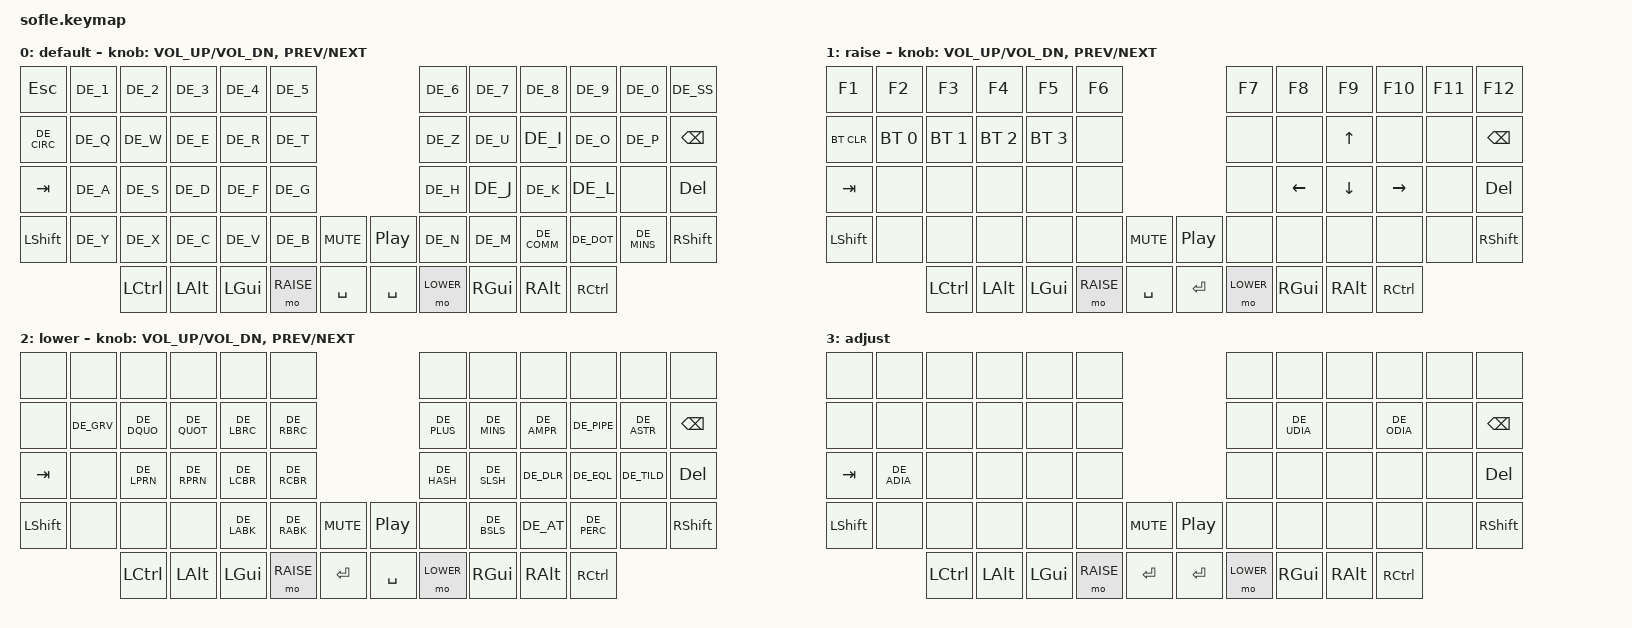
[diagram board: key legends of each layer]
/*
 * Copyright (c) 2020 The ZMK Contributors
 *
 * SPDX-License-Identifier: MIT
 */

#include <behaviors.dtsi>
#include <dt-bindings/zmk/bt.h>
#include <dt-bindings/zmk/ext_power.h>
#include <dt-bindings/zmk/keys.h>
#include <dt-bindings/zmk/rgb.h>
#include "keys_german.h"

#define BASE 0
#define RAISE 1
#define LOWER 2
#define ADJUST 3

/ {
    // Activate ADJUST layer by pressing raise and lower

    conditional_layers {
        compatible = "zmk,conditional-layers";

        adjust_layer {
            if-layers = <LOWER RAISE>;
            then-layer = <ADJUST>;
        };
    };

    keymap {
        compatible = "zmk,keymap";

        default_layer {
            display-name = "default";

            // ------------------------------------------------------------------------------------------------------------
            // |  ESC  |  1  |  2   |  3   |  4   |  5   |                   |  6   |  7    |  8    |  9   |   0   |   ß   |
            // |  ^    |  Q  |  W   |  E   |  R   |  T   |                   |  Z   |  U    |  I    |  O   |   P   | BKSPC |
            // |  TAB  |  A  |  S   |  D   |  F   |  G   |                   |  H   |  J    |  K    |  L   |   -   | DELETE|
            // | SHIFT |  Y  |  X   |  C   |  V   |  B   |  MUTE  |  | PLAY  |  N   |  M    |  ,    |  .   |   -   | SHIFT |
            //               | CTRL | ALT  | GUI  |RAISE |  SPACE |  | ENTER | LOWER| GUI   | ALT   | CTRL |

            bindings = <
&kp ESCAPE  &kp DE_1  &kp DE_2     &kp DE_3    &kp DE_4    &kp DE_5                                      &kp DE_6      &kp DE_7          &kp DE_8      &kp DE_9      &kp DE_0     &kp DE_SS
&kp DE_CIRC &kp DE_Q  &kp DE_W     &kp DE_E    &kp DE_R    &kp DE_T                                      &kp DE_Z      &kp DE_U          &kp DE_I      &kp DE_O      &kp DE_P     &kp BSPC
&kp TAB     &kp DE_A  &kp DE_S     &kp DE_D    &kp DE_F    &kp DE_G                                      &kp DE_H      &kp DE_J          &kp DE_K      &kp DE_L      &none        &kp DELETE
&kp LSHFT   &kp DE_Y  &kp DE_X     &kp DE_C    &kp DE_V    &kp DE_B    &kp C_MUTE      &kp C_PLAY_PAUSE  &kp DE_N      &kp DE_M          &kp DE_COMM   &kp DE_DOT    &kp DE_MINS  &kp RSHFT
                      &kp LCTRL    &kp LALT    &kp LGUI    &mo RAISE   &kp SPACE       &kp SPACE         &mo LOWER     &kp RIGHT_GUI     &kp RALT      &kp RCTRL
            >;

            sensor-bindings =
               <&inc_dec_kp C_VOL_UP C_VOL_DN>,
               <&inc_dec_kp C_PREV C_NEXT>;
        };

        raise_layer {
            display-name = "raise";

            // ------------------------------------------------------------------------------------------------------------
            // |  F1   |  F2  |  F3  |  F4  |  F5  |  F6  |                   |  F7  |  F8   |  F9   | F10  |  F11  |  F12  |
            // |BT Clr |  BT1 |  BT2 |  BT3 |  BT4 |  -   |                   |  -   |  -    |  UP   |  -   |   -   | BKSPC |
            // |  TAB  |  -   |  -   |  -   |  -   |  -   |                   |  -   |  LEFT |  DOWN |RIGHT |   -   | DELETE|
            // | SHIFT |  -   |  -   |  -   |  -   |  -   |  MUTE  |  | PLAY  |  -   |  -    |  -    |  -   |   -   | SHIFT |
            //                | CTRL | ALT  | GUI  |RAISE |  SPACE |  | ENTER | LOWER| GUI   | ALT   | CTRL |

            bindings = <
&kp F1      &kp F2        &kp F3            &kp F4         &kp F5            &kp F6                                     &kp F7            &kp F8             &kp F9                &kp F10                &kp F11        &kp F12
&bt BT_CLR  &bt BT_SEL 0  &bt BT_SEL 1      &bt BT_SEL 2   &bt BT_SEL 3      &none                                      &none             &none              &kp UP                &none                  &none          &kp BSPC
&kp TAB     &none         &none             &none          &none             &none                                      &none             &kp LEFT           &kp DOWN              &kp RIGHT              &none          &kp DELETE
&kp LSHFT   &none         &none             &none          &none             &none          &kp C_MUTE    &kp C_PP      &none             &none              &none                 &none                  &none          &kp RSHFT
                          &kp LCTRL         &kp LALT       &kp LGUI          &mo RAISE      &kp SPACE     &kp RET       &mo LOWER         &kp RGUI           &kp RALT              &kp RCTRL
            >;


            sensor-bindings =
                <&inc_dec_kp C_VOL_UP C_VOL_DN>,
                <&inc_dec_kp C_PREV C_NEXT>;
        };

        lower_layer {
            display-name = "lower";

            // ------------------------------------------------------------------------------------------------------------
            // |   -   |  -  |  -   |  -   |  -   |  -   |                   |  -   |  -    |  -    |  -   |   -   |   -   |
            // |   -   |  ´  |  "   |  '   |  [   |  ]   |                   |  +   |  (-)  |  &    |  |   |   *   | BKSPC |
            // |  TAB  |  -  |  (   |  )   |  {   |  }   |                   |  #   |  /    |  $    |  =   |   ~   | DELETE|
            // | SHIFT |  -  |  -   |  -   |  <   |  >   |  MUTE  |  | PLAY  |  -   |  \    |  @    |  %   |   -   | SHIFT |
            //               | CTRL | ALT  | GUI  |RAISE |  ENTER |  | SPACE | LOWER| GUI   | ALT   | CTRL |

            bindings = <
&none       &none       &none             &none          &none             &none                                      &none             &none              &none                 &none                &none          &none
&none       &kp DE_GRV  &kp DE_DQUO       &kp DE_QUOT    &kp DE_LBRC       &kp DE_RBRC                                &kp DE_PLUS       &kp DE_MINS        &kp DE_AMPR           &kp DE_PIPE          &kp DE_ASTR    &kp BSPC
&kp TAB     &none       &kp DE_LPRN       &kp DE_RPRN    &kp DE_LCBR       &kp DE_RCBR                                &kp DE_HASH       &kp DE_SLSH        &kp DE_DLR            &kp DE_EQL           &kp DE_TILD    &kp DELETE
&kp LSHFT   &none       &none             &none          &kp DE_LABK       &kp DE_RABK    &kp C_MUTE    &kp C_PP      &none             &kp DE_BSLS        &kp DE_AT             &kp DE_PERC          &none          &kp RSHFT
                        &kp LCTRL         &kp LALT       &kp LGUI          &mo RAISE      &kp RET       &kp SPACE     &mo LOWER         &kp RGUI           &kp RALT              &kp RCTRL
            >;


            sensor-bindings =
                <&inc_dec_kp C_VOL_UP C_VOL_DN>,
                <&inc_dec_kp C_PREV C_NEXT>;
        };

        adjust_layer {
            // ------------------------------------------------------------------------------------------------------------
            // |   -   |  -  |  -   |  -   |  -   |  -   |                   |  -   |  -    |  -    |  -   |   -   |   -   |
            // |   -   |  -  |  -   |  -   |  -   |  -   |                   |  -   |  ü    |  -    |  ö   |   -   | BKSPC |
            // |  TAB  |  ä  |  -   |  -   |  -   |  -   |                   |  -   |  -    |  -    |  -   |   -   | DELETE|
            // | SHIFT |  -  |  -   |  -   |  -   |  -   |  MUTE  |  | PLAY  |  -   |  -    |  -    |  -   |   -   | SHIFT |
            //               | CTRL | ALT  | GUI  |RAISE |  ENTER |  | ENTER | LOWER| GUI   | ALT   | CTRL |

            display-name = "adjust";
            bindings = <
&none       &none       &none             &none          &none             &none                                      &none             &none              &none                 &none                  &none          &none
&none       &none       &none             &none          &none             &none                                      &none             &kp DE_UDIA        &none                 &kp DE_ODIA            &none          &kp BSPC
&kp TAB     &kp DE_ADIA &none             &none          &none             &none                                      &none             &none              &none                 &none                  &none          &kp DEL
&kp LSHFT   &none       &none             &none          &none             &none          &kp C_MUTE    &kp C_PP      &none             &none             &none                 &none                  &none          &kp RSHFT
                        &kp LCTRL         &kp LALT       &kp LGUI          &mo RAISE      &kp RET       &kp RET       &mo LOWER         &kp RGUI          &kp RALT              &kp RCTRL
            >;

        };
    };
};
